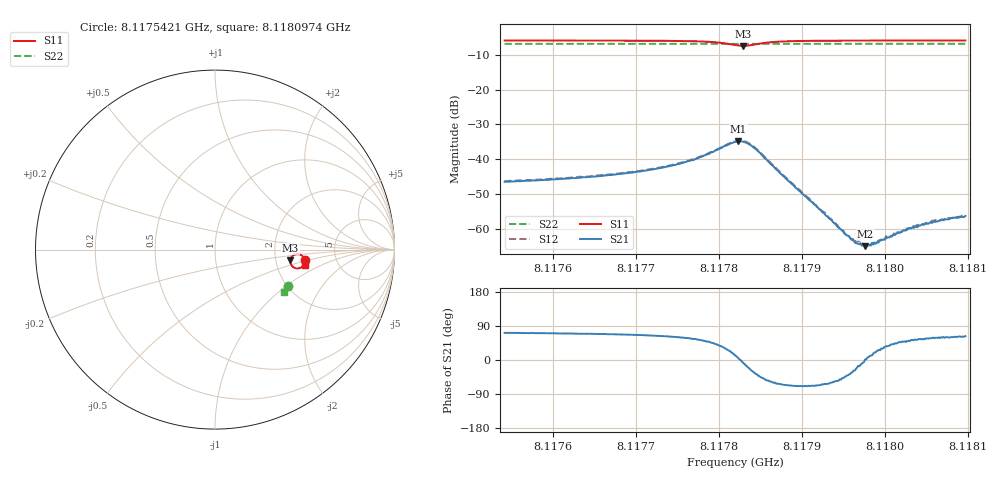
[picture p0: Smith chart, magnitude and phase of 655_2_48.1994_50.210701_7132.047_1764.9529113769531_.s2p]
#  HZ  S  RI  R  50.00
! Rohde & Schwarz Vector Network Analyzer
! Rohde-Schwarz,ZNB20-2Port,1311601062101988,3.16
! Created: UTC 3/20/2024, 12:05:23 PM
! freq[Hz]  re:S11  im:S11  re:S21  im:S21  re:S12  im:S12  re:S22  im:S22
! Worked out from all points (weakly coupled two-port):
!   401 points, 8.1175421 GHz to 8.1180974 GHz, reference 50 ohm
!   highest |S21| = -34.86 dB at 8.1178239 GHz (marker M1); lowest = -65.0 dB at 8.1179766 GHz (marker M2)
!   lowest |S11| = -7.5 dB at 8.1178294 GHz (marker M3), VSWR 2.47, Z = 120 - j17.8 ohm
!   |S11| at or under -10 dB: nowhere
!   |S22| runs from -6.9 to -6.9 dB; largest |S21 - S12| = 0.00062
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8.11754208e9  0.5034 -0.0583  0.00149 0.0045  0.00155 0.00456  0.4041 -0.204
8.11763509e9  0.5013 -0.0685  0.00193 0.00512  0.00197 0.0052  0.4014 -0.21
8.11768645e9  0.4989 -0.0757  0.00243 0.00577  0.00251 0.00582  0.3997 -0.2135
8.1177281e9  0.4952 -0.0837  0.0033 0.00664  0.00339 0.00676  0.3982 -0.2162
8.11777114e9  0.4846 -0.0961  0.00558 0.00829  0.00591 0.0085  0.3962 -0.2191
8.11780307e9  0.4562 -0.1048  0.0117 0.00849  0.012 0.00882  0.3941 -0.221
8.11781973e9  0.4267 -0.088  0.0173 0.00388  0.0176 0.00402  0.3925 -0.2211
8.11782389e9  0.4214 -0.0773  0.018 0.00144  0.0183 0.00153  0.3923 -0.2207
8.11782944e9  0.4197 -0.0605  0.0178 -0.00221  0.0181 -0.00211  0.3922 -0.2203
8.11783638e9  0.4276 -0.0409  0.0154 -0.00604  0.0159 -0.00609  0.3925 -0.22
8.11784471e9  0.4457 -0.0274  0.0112 -0.00841  0.0115 -0.00862  0.3933 -0.2203
8.11787109e9  0.4847 -0.0339  0.00322 -0.00611  0.00326 -0.0063  0.3941 -0.2223
8.11791274e9  0.4981 -0.0537  0.000921 -0.00224  0.000916 -0.0023  0.3931 -0.2258
8.11796133e9  0.5005 -0.0656  0.00061 -0.00038  0.000583 -0.000361  0.3916 -0.2292
8.11796688e9  0.5005 -0.0667  0.000583 -0.000212  0.000615 -0.000242  0.3914 -0.2296
8.1179766e9  0.5006 -0.0684  0.000565 1.63e-05  0.000603 -3.93e-05  0.391 -0.2303
8.11798493e9  0.5006 -0.0699  0.000614 0.000135  0.000613 0.000122  0.3908 -0.2309
8.11800575e9  0.5005 -0.073  0.000597 0.00046  0.000635 0.000487  0.3902 -0.2322
8.11803074e9  0.5003 -0.0763  0.000654 0.000784  0.000666 0.000783  0.3892 -0.2338
8.1180585e9  0.5002 -0.0796  0.000645 0.00108  0.000697 0.0011  0.3882 -0.2355
8.11809321e9  0.4997 -0.0834  0.000714 0.00131  0.000743 0.00136  0.3871 -0.2378
8.11809738e9  0.4996 -0.0837  0.000698 0.00137  0.000715 0.00132  0.3868 -0.238
